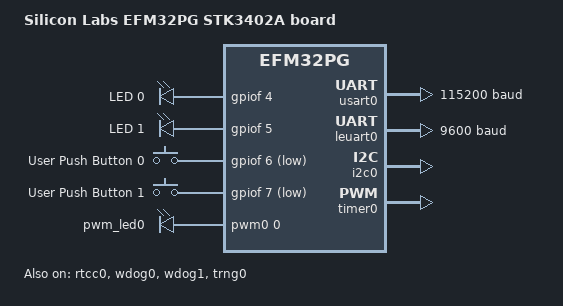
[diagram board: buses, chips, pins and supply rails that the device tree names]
/*
 * Copyright (c) 2017 Christian Taedcke
 * Copyright (c) 2019 Lemonbeat GmbH
 * Copyright (c) 2023 T-Mobile USA, Inc.
 *
 * SPDX-License-Identifier: Apache-2.0
 */

#include "efm32pg_stk3402a-pinctrl.dtsi"

/ {
	model = "Silicon Labs EFM32PG STK3402A board";

	chosen {
		zephyr,console = &usart0;
		zephyr,shell-uart = &usart0;
		zephyr,sram = &sram0;
		zephyr,flash = &flash0;
	};

	/* These aliases are provided for compatibility with samples */
	aliases {
		led0 = &led0;
		led1 = &led1;
		pwm-led0 = &pwm_led0;
		sw0 = &button0;
		sw1 = &button1;
		watchdog0 = &wdog0;
		watchdog1 = &wdog1;
	};

	leds {
		compatible = "gpio-leds";
		led0: led_0 {
			gpios = <&gpiof 4 0>;
			label = "LED 0";
		};
		led1: led_1 {
			gpios = <&gpiof 5 0>;
			label = "LED 1";
		};
	};

	buttons {
		compatible = "gpio-keys";
		button0: button_0 {
			/* gpio flags need validation */
			gpios = <&gpiof 6 GPIO_ACTIVE_LOW>;
			label = "User Push Button 0";
		};
		button1: button_1 {
			/* gpio flags need validation */
			gpios = <&gpiof 7 GPIO_ACTIVE_LOW>;
			label = "User Push Button 1";
		};
	};

	pwmleds {
		compatible = "pwm-leds";
		status = "okay";
		pwm_led0: pwm_led0 {
			pwms = <&pwm0 0 PWM_MSEC(20) PWM_POLARITY_NORMAL>;
		};
	};
};

&cpu0 {
	clock-frequency = <40000000>;
};

&usart0 {
	current-speed = <115200>;
	pinctrl-0 = <&usart0_default>;
	pinctrl-names = "default";
	status = "okay";
};

&leuart0 {
	current-speed = <9600>;
	pinctrl-0 = <&leuart0_default>;
	pinctrl-names = "default";
	status = "okay";
};

&i2c0 {
	location-sda = <GECKO_LOCATION(15) GECKO_PORT_C GECKO_PIN(10)>;
	location-scl = <GECKO_LOCATION(15) GECKO_PORT_C GECKO_PIN(11)>;
	status = "okay";
};

&rtcc0 {
	prescaler = <32768>;
	status = "okay";
};

&timer0 {
	status = "okay";

	pwm0: pwm {
		status = "okay";
		pin-location = <GECKO_LOCATION(28) GECKO_PORT_F GECKO_PIN(4)>;
		prescaler = <1024>;
	};
};

&gpio {
	location-swo = <0>;
	status = "okay";
};

&gpioa {
	status = "okay";
};

&gpiob {
	status = "okay";
};

&gpiod {
	status = "okay";
};

&gpiof {
	status = "okay";
};

&wdog0 {
	status = "okay";
};

&wdog1 {
	status = "okay";
};


&flash0 {

	partitions {
		compatible = "fixed-partitions";
		#address-cells = <1>;
		#size-cells = <1>;

		/* Set 6Kb of storage at the end of the 1024Kb of flash */
		storage_partition: partition@fe800 {
			label = "storage";
			reg = <0x000fe800 0x00001800>;
		};

	};
};

&trng0 {
		status = "okay";
};
